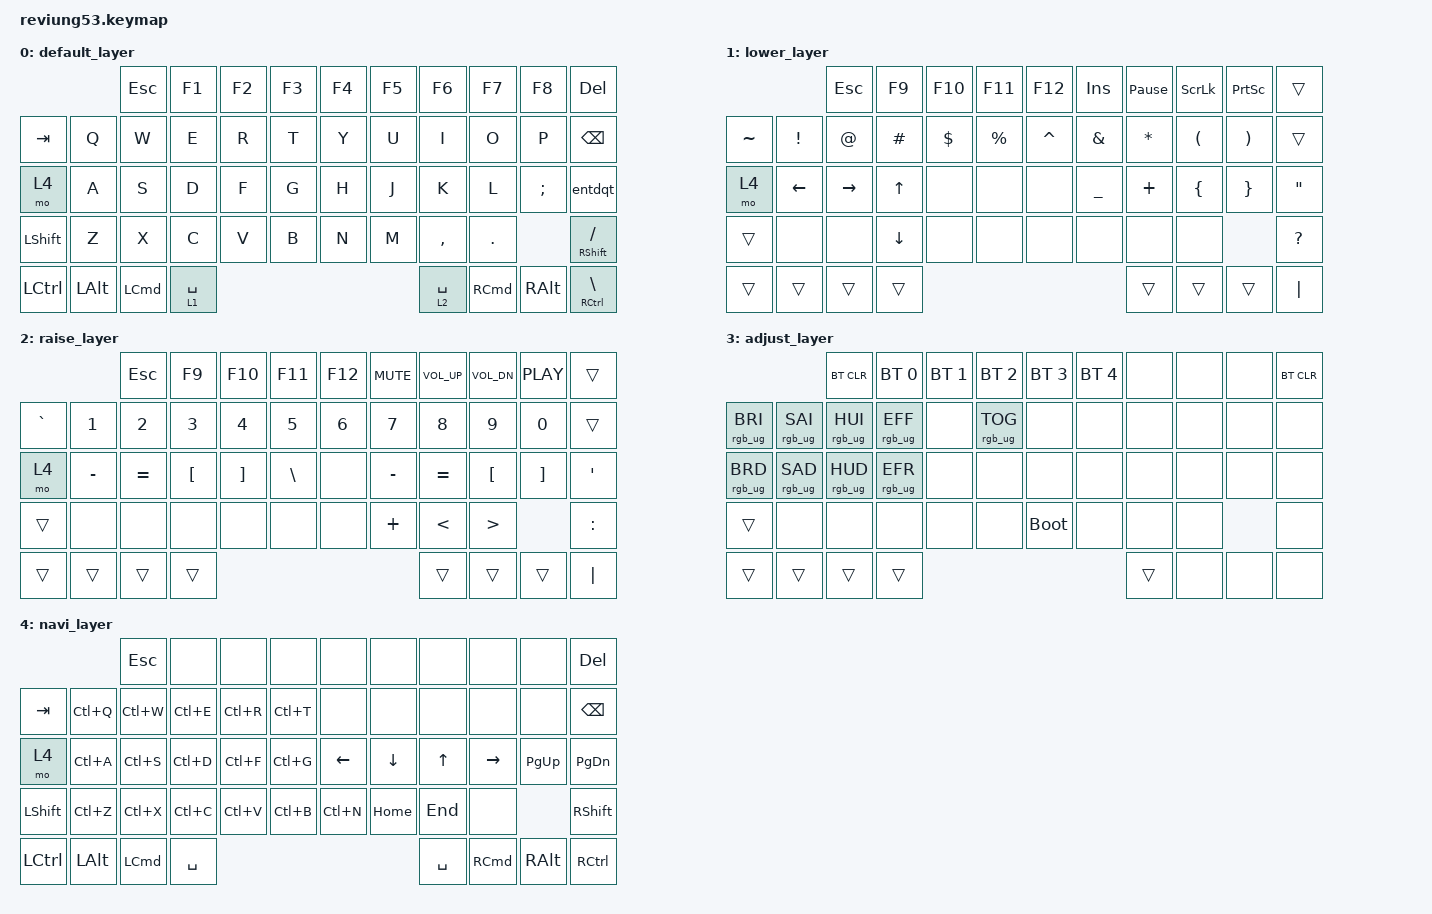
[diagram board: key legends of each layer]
/*
 * Copyright (c) 2020 The ZMK Contributors
 *
 * SPDX-License-Identifier: MIT
 */

#include <behaviors.dtsi>
#include <dt-bindings/zmk/keys.h>
#include <dt-bindings/zmk/bt.h>
#include <dt-bindings/zmk/rgb.h>

&lt {
    tapping-term-ms = <175>;
};

/ {
        behaviors {
                entdqt: enter_dquote {
                        compatible = "zmk,behavior-mod-morph";
                        label = "ENTER_DQUOTE";
                        #binding-cells = <0>;
                        bindings = <&kp ENTER>, <&kp DQT>;
                        mods = <(MOD_LSFT)>;
                };

                ctrlcaps: ctrl_caps {
                        compatible = "zmk,behavior-tap-dance";
                        label = "CTRL_CAPS";
                        #binding-cells = <0>;
                        tapping-term-ms = <200>;
                        bindings = <&kp LCTRL>, <&kp CAPS>;
                };
        };

        conditional_layers {
                compatible = "zmk,conditional-layers";
                tri_layer {
                if-layers = <1 2>;
                then-layer = <3>;
                };
        };

        keymap {
                compatible = "zmk,keymap";

                default_layer {
// ----------------------------------------------------------------------------------------
// |      |     | ESC |  F1  |  F2  |  F3  |  F4  |  F5  |  F6  |  F7  |  F8  |   DEL     |
// |  TAB |  Q  |  W  |  E   |  R   |  T   |   Y  |  U   |  I   |  O   |  P   |   BKSP    |
// | CAPS |  A  |  S  |  D   |  F   |  G   |   H  |  J   |  K   |  L   |  ;   |   RET     |
// | SHFT |  Z  |  X  |  C   |  V   |  B   |   N  |  M   |  ,   |  .   |      | SHFT(/)   |
// | CTRL | GUI | ALT |      LOWER(SPACE)  |    RAISE(SPACE)    | ALT  | GUI  | CTRL(\)   |
// |
                        bindings = <
                        &kp ESC  &kp F1  &kp F2       &kp F3  &kp F4       &kp F5  &kp F6    &kp F7    &kp F8    &kp DEL
   &kp TAB     &kp Q    &kp W    &kp E   &kp R        &kp T   &kp Y        &kp U   &kp I     &kp O     &kp P     &kp BSPC
   &mo 4       &kp A    &kp S    &kp D   &kp F        &kp G   &kp H        &kp J   &kp K     &kp L     &kp SEMI  &entdqt
   &kp LSHFT   &kp Z    &kp X    &kp C   &kp V        &kp B   &kp N        &kp M   &kp COMMA &kp DOT             &mt RSHFT FSLH
   &kp LCTRL   &kp LALT &kp LCMD         &lt 1 SPACE         &lt 2 SPACE                     &kp RCMD  &kp RALT  &mt RCTRL BSLH
                        >;
                };

                lower_layer {
// --------------------------------------------------------------------------------------------
// |      |     | `   |  F9  |  F10  |  F11  |  F12  |  INS  |  PAU  |  SCR   |  PSCR  |      |
// |      |  !  |  @  |  #   |  $    |  %    |   ^   |  &    |  *    |  (     |  )     |      |
// |      |  _  |  +  |  {   |  }    |  |    |       |  _    |  +    |  {     |  }     |  "   |
// |      |     |     |      |       |       |       |       |       |        |        |  ?   |
// |      |     |     |                      |               |       |        |        |  |   |
// |
                        bindings = <
                       &kp ESC    &kp F9   &kp F10  &kp F11    &kp F12    &kp INS   &kp PAUSE_BREAK  &kp SLCK   &kp PSCRN  &trans
   &kp TILDE &kp EXCL  &kp AT     &kp HASH &kp DLLR &kp PRCNT  &kp CARET  &kp AMPS  &kp ASTRK        &kp LPAR   &kp RPAR   &trans
   &mo 4     &kp LEFT  &kp RIGHT  &kp UP   &none    &none      &none      &kp UNDER &kp PLUS         &kp LBRC   &kp RBRC   &kp DQT
   &trans    &none     &none      &kp DOWN &none    &none      &none      &none     &none            &none                 &kp QMARK
   &trans    &trans    &trans                       &trans                &trans                     &trans     &trans     &kp PIPE
                        >;
                };

                raise_layer {
// --------------------------------------------------------------------------------------
// |      |     |  ~  |  F9  |  F10  |  F11  |  F12  | MUTE | VOL+ | VOL- | PLAY |      |
// |      |  1  |  2  |  3   |   4   |   5   |   6   |   7  |   8  |   9  |  0   |      |
// |      |  -  |  =  |  [   |  ]    |  \    |       |  -   |   =  |  [   |  ]   |   "  |
// |      |     |     |      |       |       |       |  +   |   <  |  >   |      |  :   |
// |      |     |     |                      |              |      |      |      |   \  |
// |
                        bindings = <
                       &kp ESC    &kp F9   &kp F10  &kp F11      &kp F12   &kp C_MUTE  &kp C_VOL_UP  &kp C_VOL_DN   &kp C_PLAY  &trans
   &kp GRAVE &kp N1    &kp N2     &kp N3   &kp N4   &kp N5       &kp N6    &kp N7      &kp N8        &kp N9         &kp N0      &trans
   &mo 4     &kp MINUS &kp EQUAL  &kp LBKT &kp RBKT &kp BSLH     &none     &kp MINUS   &kp EQUAL     &kp LBKT       &kp RBKT    &kp SQT
   &trans    &none     &none      &none    &none    &none        &none     &kp PLUS    &kp LT        &kp GT                     &kp COLON
   &trans    &trans    &trans                       &trans                 &trans                    &trans         &trans      &kp PIPE
                        >;
                };

                adjust_layer {
// ------------------------------------------------------------------------------------------------------------------------
// |          |          |          |    BT1   |   BT2    |  BT3      |   BT4  |  BT5   |        |       |      | BT CLR  |
// | RGB BRI+ | RGB SAT+ | RGB HUE+ | RGB ANI+ |          |  RGB TOG  |        |        |        |       |      |         |
// | RGB BRI- | RGB SAT- | RGB HUE- | RGB ANI- |          |           |        |        |        |       |      |         |
// |          |          |          |          |          |           |        |        |        |       |      |         |
// |          |          |          |                                 |                 |        |       |      |  RESET  |
//
                        bindings = <
                                     &bt BT_CLR       &bt BT_SEL 0     &bt BT_SEL 1  &bt BT_SEL 2     &bt BT_SEL 3   &bt BT_SEL 4   &none    &none   &none   &bt BT_CLR
   &rgb_ug RGB_BRI  &rgb_ug RGB_SAI  &rgb_ug RGB_HUI  &rgb_ug RGB_EFF  &none         &rgb_ug RGB_TOG  &none          &none          &none    &none   &none   &none
   &rgb_ug RGB_BRD  &rgb_ug RGB_SAD  &rgb_ug RGB_HUD  &rgb_ug RGB_EFR  &none         &none            &none          &none          &none    &none   &none   &none
   &trans           &none            &none            &none            &none         &none            &bootloader    &none          &none    &none           &none
   &trans           &trans           &trans                            &trans                         &trans                                 &none   &none   &none
                        >;
                };

                navi_layer {
// ------------------------------------------------------------------------------------------------------------------------
// |          |          |    ESC   |          |          |           |        |        |        |       |      |   DEL   |
// | TAB      |          |    UP    |          |          |           |        |        |        |       |      |  BSPC   |
// | MO(navi) |   LEFT   |   DOWN   |   RIGHT  |          |           |  LEFT  |  DOWN  |  UP    | RIGHT |      |  ENTER  |
// | SHIFT    |          |          |          |          |           |  HOME  |  END   |  PGUP  |  PGDN |      |  SHIFT  |
// | CTRL     |   GUI    |  ALT     |            SPACE                |  SPACE          |        |  ALT  | GUI  |  CTRL   |
//
                        bindings = <
                          &kp ESC   &none      &none     &none     &none      &none     &none      &none      &none     &kp DEL
   &kp TAB      &kp LC(Q) &kp LC(W) &kp LC(E)  &kp LC(R) &kp LC(T) &none      &none     &none      &none      &none     &kp BSPC
   &mo 4        &kp LC(A) &kp LC(S) &kp LC(D)  &kp LC(F) &kp LC(G) &kp LEFT   &kp DOWN  &kp UP     &kp RIGHT  &kp PG_UP &kp PG_DN
   &kp LSHFT    &kp LC(Z) &kp LC(X) &kp LC(C)  &kp LC(V) &kp LC(B) &kp LC(N)  &kp HOME  &kp END    &none                &kp RSHFT
   &kp LCTRL    &kp LALT  &kp LCMD             &kp SPACE           &kp SPACE                       &kp RCMD   &kp RALT  &kp RCTRL
                        >;
                };
        };
};
